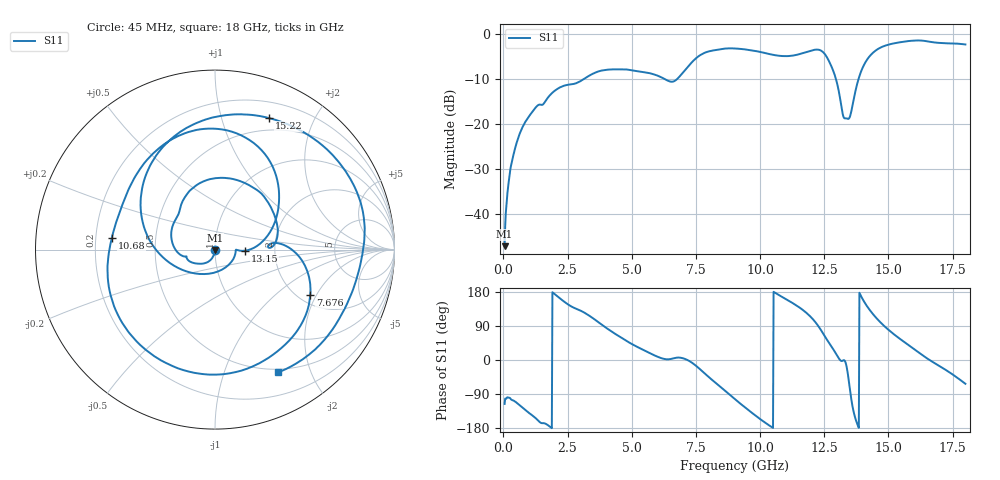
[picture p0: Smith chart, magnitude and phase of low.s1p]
!Agilent Technologies,E8364A,US41440284,A.06.04.32
!Agilent E8364A: A.06.04.32
!Date: Monday, November 18, 2019 12:36:42
!Correction: S11(Full 1 Port(1))
!S1P File: Measurement: S11:
# Hz S  MA  R 50
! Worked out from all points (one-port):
!   801 points, 45 MHz to 18 GHz, reference 50 ohm
!   lowest |S11| = -47.2 dB at 45 MHz (marker M1), VSWR 1.01, Z = 49.8 - j0.39 ohm
!   |S11| at or under -10 dB: start of sweep to 3.121 GHz; 6.29 GHz to 6.764 GHz (474.2 MHz wide, 7.27 % of centre); 12.96 GHz to 13.83 GHz (878.3 MHz wide, 6.56 % of centre)
!   S11 on the Smith chart (normalised r, x): 45 MHz: 1.00, -0.01; 7.676 GHz: 2.31, -1.78; 10.68 GHz: 0.27, +0.05; 13.15 GHz: 1.40, -0.02; 15.22 GHz: 0.36, +1.43; 18 GHz: 0.46, -1.54
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4.5e7  0.004349 -115.9
2.694375e8  0.03138 -101.5
6.509812e8  0.08024 -120.2
2.289375e9  0.2627 157.9
3.748219e9  0.389 97.3
4.53375e9  0.406 61.4
6.127256e9  0.3341 5.4
6.778125e9  0.319 6.4
7.227e9  0.4475 -2.1
7.675875e9  0.5875 -25.3
8.416519e9  0.6796 -68.7
9.0225e9  0.6947 -103.6
9.830475e9  0.6503 -147.2
1.068334e10  0.5785 173.4
1.126688e10  0.5781 150.3
1.185041e10  0.639 121.6
1.227684e10  0.6726 88.7
1.268083e10  0.5041 45.7
1.315215e10  0.1666 -2.0
1.330926e10  0.1154 -3.1
1.351125e10  0.1232 -82.9
1.389279e10  0.3567 174.2
1.418456e10  0.5292 140.2
1.467832e10  0.7066 100.1
1.521698e10  0.7921 67.8
1.575562e10  0.8386 40.7
1.669826e10  0.8172 -4.0
1.8e10  0.7694 -62.7
